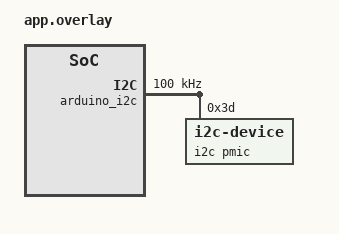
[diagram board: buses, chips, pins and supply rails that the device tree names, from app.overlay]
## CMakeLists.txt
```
# SPDX-License-Identifier: Apache-2.0

cmake_minimum_required(VERSION 3.20.0)
find_package(Zephyr REQUIRED HINTS $ENV{ZEPHYR_BASE})
project(nPZero_nRF52)

# NOTE: previously used add_subdirectory(nPZero_Driver/Src) with two bugs:
#   1) wrong case ("nPZero_Driver" vs actual folder "nPZero_driver")
#   2) nPZero_driver/Src has no CMakeLists.txt of its own (it is a plain vendor
#      driver submodule, not a Zephyr module), so add_subdirectory cannot work
#      here regardless of case. Sources are added directly instead.
target_sources(app PRIVATE
    src/main.c
    src/npz_temp_sensor.c
    src/npz_hal.c
    nPZero_driver/Src/npz.c
    nPZero_driver/Src/npz_device_control.c
    nPZero_driver/Src/npz_logs.c
)

target_include_directories(app PRIVATE nPZero_driver/Inc)
```

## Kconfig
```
menu "nPZero Driver nRF52"

config NP0_G0
    bool "Enable nPZG1"
	default y
    help
      This firmware enables mPZG1

endmenu

menu "Zephyr Kernel"
source "Kconfig.zephyr"
endmenu

module = APPLICATION_MODULE
module-str = Application module
source "subsys/logging/Kconfig.template.log_config"
```

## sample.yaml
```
sample:
  name: nPZero G1S nRF52 Power Management Integration
tests:
  sample.npzero.nrf52:
    platform_allow:
      - nrf52833dk/nrf52833
    tags: i2c
```

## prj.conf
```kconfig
CONFIG_SETTINGS=y
CONFIG_LOG=y
CONFIG_LOG_MODE_IMMEDIATE=y
CONFIG_LOG_DEFAULT_LEVEL=2
CONFIG_NP0_G0=y
CONFIG_MAIN_STACK_SIZE=8192

CONFIG_I2C=y
CONFIG_PM_DEVICE=y
CONFIG_PM_DEVICE_RUNTIME=y
```

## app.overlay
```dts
&arduino_i2c {
	compatible = "nordic,nrf-twim";
	status = "okay";
	clock-frequency = <I2C_BITRATE_STANDARD>;
	twis_device: npzero@3D {
		label = "i2c pmic";
		compatible = "i2c-device";
		status = "okay";
		reg = <0x3D>;
	};
};
```

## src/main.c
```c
#include "npz.h"
#include "npz_hal.h"
#include "npz_device_control.h"
#include <zephyr/kernel.h>
#include <stdio.h>

//[CFGSTRUCT_START]
npz_peripheral_config_s peripheral_3 = {
    .power_mode = POWER_MODE_PERIODIC,
    .communication_protocol = COM_SPI,
    .polling_mode = POLLING_MODE_PERIODIC_READ_COMPARE_THRESHOLD,
    .power_switch_mode = POWER_SWITCH_MODE_LOGIC_OUTPUT_HIGH,
    .interrupt_pin_mode = INTERRUPT_PIN_MODE_INPUT_ACTIVE_HIGH,
    .comparison_mode = COMPARISON_MODE_INSIDE_THRESHOLD,
    .sensor_data_type = DATA_TYPE_INT16,
    .multi_byte_transfer_enable = 0,
    .swap_registers = 0,
    .spi_cfg.bytes_from_sram_num = 2,
    .spi_cfg.bytes_from_sram = {0x20, 0x10},
    .spi_cfg.bytes_from_sram_read_num = 1,
    .spi_cfg.bytes_from_sram_read = {0xA8},
    .spi_cfg.mode = SPIMOD_SPI_MODE_0,
    .polling_period = 50,
    .pre_wait_time = PRE_WAIT_TIME_EXTEND_256,
    .post_wait_time = POST_WAIT_TIME_EXTEND_256,
    .time_to_wait = 10,
    .threshold_over = 1000,
    .threshold_under = 64536,
};

npz_peripheral_config_s peripheral_4 = {
    .communication_protocol = COM_I2C,
    .power_mode = POWER_MODE_PERIODIC,
    .polling_mode = POLLING_MODE_PERIODIC_READ_COMPARE_THRESHOLD,
    .power_switch_mode = POWER_SWITCH_MODE_LOGIC_OUTPUT_HIGH,
    .interrupt_pin_mode = INTERRUPT_PIN_MODE_INPUT_ACTIVE_HIGH,
    .comparison_mode = COMPARISON_MODE_INSIDE_THRESHOLD,
    .sensor_data_type  = DATA_TYPE_INT16,
    .multi_byte_transfer_enable  = MULTIBYTE_TRANSFER_ENABLE,
    .swap_registers = ENDIAN_BIG,
    .polling_period = 0x012C, // Wakeup peripheral every 30 seconds with 10Hz clock
    .i2c_cfg.sensor_address = 0x49,
    .i2c_cfg.command_num = 2,
    .i2c_cfg.bytes_from_sram = {0x01, 0x82, 0x02, 0xA0},
    .i2c_cfg.reg_address_value = 0x00,
    .i2c_cfg.wake_on_nak = ENABLED,
    .i2c_cfg.num_of_retries_on_nak = 3,
    .time_to_wait = 0x31, /* 0x31 (49 in decimal):
                           * When multiplied by 4096: 49 * 4096 = 200704  clock cycles * 2.5�s (1 / 400000),
                           * which equals 501.76ms at 400kHz.
                           * When multiplied by 256: 49 * 256 = 12544  clock cycles * 2.5�s (1 / 400000),
                           * which equals 31.36ms at 400kHz.
                           */
    .pre_wait_time = POST_WAIT_TIME_EXTEND_256,
    .post_wait_time = POST_WAIT_TIME_EXTEND_256,
    .threshold_over = 3200,
    .threshold_under = 1280,
};

npz_adc_config_channels_s npz_adc_internal_config = {
    .wakeup_enable = 0,
    .over_threshold = 0,
    .under_threshold = 0,
};

npz_adc_config_channels_s npz_adc_external_config = {
    .wakeup_enable = 0,
    .over_threshold = 0,
    .under_threshold = 0,
};

npz_device_config_s npz_configuration = {
    .host_power_mode = HOST_POWER_MODE_LOGIC_OUTPUT,
    .power_switch_normal_mode_per1 = 0,
    .power_switch_normal_mode_per2 = 0,
    .power_switch_normal_mode_per3 = 1,
    .power_switch_normal_mode_per4 = 1,
    .power_switch_gate_boost = 0,
    .system_clock_divider = SCLK_DIV_DISABLE,
    .system_clock_source = SYS_CLOCK_10HZ,
    .io_strength = IO_STR_NORMAL,
    .i2c_pull_mode = I2C_PULL_AUTO,
    .spi_auto = SPI_PINS_ALWAYS_ON,
    .xo_clock_out_sel = XO_CLK_OFF,
    .wake_up_per1 = 0,
    .wake_up_per2 = 0,
    .wake_up_per3 = 1,
    .wake_up_per4 = 1,
    .wake_up_any_or_all = WAKEUP_ANY,
    .global_timeout = 0x0BB8,
    .interrupt_pin_pull_up_pin1 = INT_PIN_PULL_HIGH,
    .interrupt_pin_pull_up_pin2 = INT_PIN_PULL_HIGH,
    .interrupt_pin_pull_up_pin3 = INT_PIN_PULL_HIGH,
    .interrupt_pin_pull_up_pin4 = INT_PIN_PULL_HIGH,
    .adc_ext_sampling_enable = 0,
    .adc_clock_sel = ADC_CLK_256,
    .adc_channels = {0, 0},
    .peripherals = {0, 0, &peripheral_3, &peripheral_4},
};
//[CFGSTRUCT_END]

static void read_peripheral_temp(int peripheral_value)
{
    // Calculate the temperature in degrees Celsius
    float temperature = peripheral_value * 0.0078125; //     // AS6212 temperature sensor resolution is 0.0078125°C.
    printk("Calculated temperature: %d.%03d °C\r\n", (int) temperature,
           (int) ((temperature - (int) temperature) * 1000));
}

static void npz_read_status_registers(npz_status_s *status)
{
    // Read the first status register
    if (npz_read_STA1(&status->status1) != OK)
    {
        return;
    }

    // Handle status1
    if (status->status1.reset_source == RESETSOURCE_NONE)
    {
        printk("Reset source is None\r\n");
    }
    else if (status->status1.reset_source == RESETSOURCE_PWR_RESET)
    {
        printk("Power-on reset triggered\r\n");
    }
    else if (status->status1.reset_source == RESETSOURCE_SOFT_RESET)
    {
        printk("Soft reset triggered (via I2C command)\r\n");
    }
    else if (status->status1.reset_source == RESETSOURCE_EXT_RESET)
    {
        printk("External reset triggered (via RST pin)\r\n");
    }

    if (status->status1.ext_adc_triggered == 1)
    {
        if (!npz_device_handle_adc_external())
        {
            return;
        }
    }

    if (status->status1.int_adc_triggered == 1)
    {
        if (!npz_device_handle_adc_internal())
        {
            return;
        }
    }

    if (status->status1.global_timeout_triggered == 1)
    {
        printk("Global Timeout triggered before any wake up source triggered\r\n");
    }

    // Read the second status register
    if (npz_read_STA2(&status->status2) != OK)
    {
        return;
    }

    // Handle status2
    // Arrays to map peripherals and switches
    npz_psw_e switches[4] = {PSW_LP1, PSW_LP2, PSW_LP3, PSW_LP4};
    uint8_t triggered[4] = {status->status2.per1_triggered, status->status2.per2_triggered,
                            status->status2.per3_triggered, status->status2.per4_triggered};
    uint8_t timeouts[4] = {status->status2.per1_global_timeout, status->status2.per2_global_timeout,
                           status->status2.per3_global_timeout, status->status2.per4_global_timeout};

    // Iterate over each peripheral to check for triggers and timeouts
    for (int i = 0; i < 4; i++)
    {
        if (triggered[i]) // Check if peripheral is triggered
        {
            int peripheral_value = 0;

            npz_device_read_peripheral_value(switches[i], i,
                                             &peripheral_value); // Read the peripheral value based on the switch

            if (npz_configuration.peripherals[i]->communication_protocol == COM_I2C &&
                (npz_configuration.peripherals[i]->polling_mode == POLLING_MODE_PERIODIC_READ_COMPARE_THRESHOLD ||
                 npz_configuration.peripherals[i]->polling_mode ==
                     POLLING_MODE_PERIODIC_WAIT_INTERRUPT_COMPARE_THRESHOLD))
            {
                read_peripheral_temp(peripheral_value);
            }
        }

        if (timeouts[i]) // Check if global timeout is triggered for this peripheral
        {
            printk("Peripheral %d global timeout was triggered\r\n", i + 1); // Log the timeout event
        }
    }
}

int main(void)
{
    // Print welcome message
    printk("nPZero Host is active.........\r\n");

    // Initialize the nPZG1S
    npz_init();
  
    // Read the status registers of the nP0 device after every reset
    npz_status_s npz_status = {0};
    npz_read_status_registers(&npz_status);

    // Send the configuration to the device
    npz_device_configure(&npz_configuration);

    // Add a delay at the start of main, to give the user time to flash the MCU before it enters sleep
    // This delay should be removed in production code  
    k_msleep(1000);

    // At the end of your operations, put the device into idle mode
    // (renamed from npz_device_go_to_sleep(), which is not declared in npz_device_control.h)
    npz_device_go_to_idle();
}
```

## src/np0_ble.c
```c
/**
 * @file np0_ble.c
 * @brief Bluetooth Low Energy (BLE) handling for NP0 device.
 *
 * This file contains the implementation of BLE functions for initializing,
 * updating, and advertising temperature data.
 */
/*****************************************************************************
 * Includes
 *****************************************************************************/

#include "np0_ble.h"
#include <stddef.h>
#include <zephyr/bluetooth/bluetooth.h>
#include <zephyr/bluetooth/hci.h>
#include <zephyr/sys/util.h>
#include <zephyr/types.h>

/*****************************************************************************
 * Defines
 *****************************************************************************/

#define DEVICE_NAME CONFIG_BT_DEVICE_NAME
#define DEVICE_NAME_LEN (sizeof(DEVICE_NAME) - 1)
#define ADV_MIN_5000_MS 8000
#define ADV_MAX_5200_MS 8320
#define BLE_ADV_NCONN_NSCAN BT_LE_ADV_PARAM(0, ADV_MIN_5000_MS, ADV_MAX_5200_MS, NULL)

/*****************************************************************************
 * Data
 *****************************************************************************/

// Advertisement data array
static uint8_t m_eddystone_data[] = {
    0xaa, // Eddystone UUID (LSB)
    0xfe, // Eddystone UUID (MSB)
    0x20, // Eddystone-TLM frame type
    0x00, // TLM Version
    0x00, // adc_core (LSB)
    0x00, // adc_ext  (MSB)
    0x00, // VALP_L (LSB) of the read value from the peripheral
    0x80  // VALP_H (MSB) of the read value from the peripheral
};

/*
 * Set Advertisement data. Based on the Eddystone specification:
 * https://github.com/google/eddystone/blob/master/protocol-specification.md
 * https://github.com/google/eddystone/tree/master/eddystone-url
 */
static struct bt_data m_ad[] = {
    BT_DATA_BYTES(BT_DATA_FLAGS, BT_LE_AD_NO_BREDR),
    BT_DATA_BYTES(BT_DATA_UUID16_ALL, 0xaa, 0xfe),
    BT_DATA(BT_DATA_SVC_DATA16, m_eddystone_data, sizeof(m_eddystone_data)),
    BT_DATA(BT_DATA_NAME_COMPLETE, DEVICE_NAME, DEVICE_NAME_LEN),
};

/*****************************************************************************
 * Private Methods
 *****************************************************************************/

static int start_advertising(void)
{
    int err = bt_le_adv_start(BLE_ADV_NCONN_NSCAN, m_ad, ARRAY_SIZE(m_ad), NULL, 0);
    if (err < 0)
    {
        printk("Advertising failed to start (err %d)\r\n", err);
    }

    return err;
}

/**
 * @brief This function is called when the Bluetooth subsystem is initialized.
 * It starts advertising and logs the beacon's status.
 *
 * @param err Error code from Bluetooth initialization
 */
static void bt_ready(int err)
{
    char addr_s[BT_ADDR_LE_STR_LEN];
    bt_addr_le_t addr = {0};
    size_t count = 1;

    if (err)
    {
        printk("Bluetooth init failed (err %d)\r\n", err);
        return;
    }

    printk("Bluetooth initialized\r\n");

    /* Start advertising */
    err = start_advertising();
    if (err)
    {
        return;
    }

    printk("Advertising successfully started\r\n");

    /* For connectable advertising you would use
     * bt_le_oob_get_local().  For non-connectable non-identity
     * advertising an non-resolvable private address is used;
     * there is no API to retrieve that.
     */
    bt_id_get(&addr, &count);
    bt_addr_le_to_str(&addr, addr_s, sizeof(addr_s));

    printk("Beacon started, advertising as %s\r\n", addr_s);
}

/*****************************************************************************
 * Public Methods
 *****************************************************************************/

int np0_ble_init(void)
{
    //  Initialize the Bluetooth Subsystem
    int err = bt_enable(bt_ready);
    if (err < 0)
    {
        printk("Bluetooth enable failed (err %d)\r\n", err);
    }

    return err;
}

int np0_ble_update_valp_advertisement_data(int peripheral_value)
{
    uint8_t valp_low = peripheral_value & 0xFF;         // Lower byte
    uint8_t valp_high = (peripheral_value >> 8) & 0xFF; // Upper byte

    // Update the valp bytes in the modifiable advertisement data array
    m_eddystone_data[6] = valp_low;
    m_eddystone_data[7] = valp_high;

    // Restart advertising with updated data
    bt_le_adv_stop();
    int err = start_advertising();
    if (err < 0)
    {
        printk("Failed to update VALP advertisement data (err %d)\r\n", err);
    }

    return err;
}

int np0_ble_update_adc_int_advertisement_data(uint8_t int_adc_value)
{
    // Update the adc_core bytes in the modifiable advertisement data array
    m_eddystone_data[4] = int_adc_value;

    // Restart advertising with updated data
    bt_le_adv_stop();
    int err = start_advertising();
    if (err < 0)
    {
        printk("Failed to update ADC core advertisement data (err %d)\r\n", err);
    }

    return err;
}

int np0_ble_update_adc_ext_advertisement_data(uint8_t ext_adc_value)
{
    // Update the adc_ext bytes in the modifiable advertisement data array
    m_eddystone_data[5] = ext_adc_value;

    // Restart advertising with updated data
    bt_le_adv_stop();
    int err = start_advertising();
    if (err < 0)
    {
        printk("Failed to update ADC ext advertisement data (err %d)\r\n", err);
    }

    return err;
}
```

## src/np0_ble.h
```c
/**
 * @file np0_ble.h
 * @brief Bluetooth Low Energy (BLE) handling for NP0 device.
 *
 * This header file contains functions for initializing BLE,
 * updating, and advertising temperature data.
 */

#ifndef NP0_BLE_H_
#define NP0_BLE_H_

/** @cond */
#include <stdbool.h>
#include <stdint.h>
/** @endcond */

/**
 * @brief Initialize the Bluetooth subsystem.
 *
 * This function initializes the Bluetooth subsystem and registers a callback
 * for when the Bluetooth stack is ready.
 *
 * @return 0 on success, a negative error code on failure.
 */
int np0_ble_init(void);

/**
 * @brief Update the BLE advertisement data with the latest read values from the peripheral.
 *
 * This function updates the valp data in the advertisement packet
 * and restarts the BLE advertising to broadcast the new data.
 *
 * @param [in] peripheral_value  The last read value from the peripheral.
 * @return 0 on success, a negative error code on failure.
 */
int np0_ble_update_valp_advertisement_data(int peripheral_value);

/**
 * @brief Update the BLE advertisement data with the latest adc internal values.
 *
 * This function updates the internal adc data in the advertisement packet
 * and restarts the BLE advertising to broadcast the new data.
 *
 * @param [in] int_adc_value  The internal value of the adc.
 * @return 0 on success, a negative error code on failure.
 */
int np0_ble_update_adc_int_advertisement_data(uint8_t int_adc_value);

/**
 * @brief Update the BLE advertisement data with the latest adc external values.
 *
 * This function updates the external adc data in the advertisement packet
 * and restarts the BLE advertising to broadcast the new data.
 *
 * @param [in] ext_adc_value  The external value of the adc.
 * @return 0 on success, a negative error code on failure.
 */
int np0_ble_update_adc_ext_advertisement_data(uint8_t ext_adc_value);
#endif /* NP0_BLE_H_ */
```

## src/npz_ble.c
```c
/**
 * @file np0_ble.c
 * @brief Bluetooth Low Energy (BLE) handling for NP0 device.
 *
 * This file contains the implementation of BLE functions for initializing,
 * updating, and advertising temperature data.
 */
/*****************************************************************************
 * Includes
 *****************************************************************************/

#include "npz_ble.h"
#include <stddef.h>
#include <zephyr/bluetooth/bluetooth.h>
#include <zephyr/bluetooth/hci.h>
#include <zephyr/sys/util.h>
#include <zephyr/types.h>

/*****************************************************************************
 * Defines
 *****************************************************************************/

#define DEVICE_NAME CONFIG_BT_DEVICE_NAME
#define DEVICE_NAME_LEN (sizeof(DEVICE_NAME) - 1)
#define ADV_MIN_5000_MS 8000
#define ADV_MAX_5200_MS 8320
#define BLE_ADV_NCONN_NSCAN BT_LE_ADV_PARAM(0, ADV_MIN_5000_MS, ADV_MAX_5200_MS, NULL)

/*****************************************************************************
 * Data
 *****************************************************************************/

// Advertisement data array
static uint8_t m_eddystone_data[] = {
    0xaa, // Eddystone UUID (LSB)
    0xfe, // Eddystone UUID (MSB)
    0x20, // Eddystone-TLM frame type
    0x00, // TLM Version
    0x00, // adc_core (LSB)
    0x00, // adc_ext  (MSB)
    0x00, // VALP_L (LSB) of the read value from the peripheral
    0x80  // VALP_H (MSB) of the read value from the peripheral
};

/*
 * Set Advertisement data. Based on the Eddystone specification:
 * https://github.com/google/eddystone/blob/master/protocol-specification.md
 * https://github.com/google/eddystone/tree/master/eddystone-url
 */
static struct bt_data m_ad[] = {
    BT_DATA_BYTES(BT_DATA_FLAGS, BT_LE_AD_NO_BREDR),
    BT_DATA_BYTES(BT_DATA_UUID16_ALL, 0xaa, 0xfe),
    BT_DATA(BT_DATA_SVC_DATA16, m_eddystone_data, sizeof(m_eddystone_data)),
    BT_DATA(BT_DATA_NAME_COMPLETE, DEVICE_NAME, DEVICE_NAME_LEN),
};

/*****************************************************************************
 * Private Methods
 *****************************************************************************/

static int start_advertising(void)
{
    int err = bt_le_adv_start(BLE_ADV_NCONN_NSCAN, m_ad, ARRAY_SIZE(m_ad), NULL, 0);
    if (err < 0)
    {
        printk("Advertising failed to start (err %d)\r\n", err);
    }

    return err;
}

/**
 * @brief This function is called when the Bluetooth subsystem is initialized.
 * It starts advertising and logs the beacon's status.
 *
 * @param err Error code from Bluetooth initialization
 */
static void bt_ready(int err)
{
    char addr_s[BT_ADDR_LE_STR_LEN];
    bt_addr_le_t addr = {0};
    size_t count = 1;

    if (err)
    {
        printk("Bluetooth init failed (err %d)\r\n", err);
        return;
    }

    printk("Bluetooth initialized\r\n");

    /* Start advertising */
    err = start_advertising();
    if (err)
    {
        return;
    }

    printk("Advertising successfully started\r\n");

    /* For connectable advertising you would use
     * bt_le_oob_get_local().  For non-connectable non-identity
     * advertising an non-resolvable private address is used;
     * there is no API to retrieve that.
     */
    bt_id_get(&addr, &count);
    bt_addr_le_to_str(&addr, addr_s, sizeof(addr_s));

    printk("Beacon started, advertising as %s\r\n", addr_s);
}

/*****************************************************************************
 * Public Methods
 *****************************************************************************/

int npz_ble_init(void)
{
    //  Initialize the Bluetooth Subsystem
    int err = bt_enable(bt_ready);
    if (err < 0)
    {
        printk("Bluetooth enable failed (err %d)\r\n", err);
    }

    return err;
}

int npz_ble_update_valp_advertisement_data(int peripheral_value)
{
    uint8_t valp_low = peripheral_value & 0xFF;         // Lower byte
    uint8_t valp_high = (peripheral_value >> 8) & 0xFF; // Upper byte

    // Update the valp bytes in the modifiable advertisement data array
    m_eddystone_data[6] = valp_low;
    m_eddystone_data[7] = valp_high;

    // Restart advertising with updated data
    bt_le_adv_stop();
    int err = start_advertising();
    if (err < 0)
    {
        printk("Failed to update VALP advertisement data (err %d)\r\n", err);
    }

    return err;
}

int npz_ble_update_adc_int_advertisement_data(uint8_t int_adc_value)
{
    // Update the adc_core bytes in the modifiable advertisement data array
    m_eddystone_data[4] = int_adc_value;

    // Restart advertising with updated data
    bt_le_adv_stop();
    int err = start_advertising();
    if (err < 0)
    {
        printk("Failed to update ADC core advertisement data (err %d)\r\n", err);
    }

    return err;
}

int npz_ble_update_adc_ext_advertisement_data(uint8_t ext_adc_value)
{
    // Update the adc_ext bytes in the modifiable advertisement data array
    m_eddystone_data[5] = ext_adc_value;

    // Restart advertising with updated data
    bt_le_adv_stop();
    int err = start_advertising();
    if (err < 0)
    {
        printk("Failed to update ADC ext advertisement data (err %d)\r\n", err);
    }

    return err;
}
```

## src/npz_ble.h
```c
/**
 * @file np0_ble.h
 * @brief Bluetooth Low Energy (BLE) handling for NP0 device.
 *
 * This header file contains functions for initializing BLE,
 * updating, and advertising temperature data.
 */

#ifndef __NPZ_BLE_H
#define __NPZ_BLE_H

/** @cond */
#include <stdbool.h>
#include <stdint.h>
/** @endcond */

/**
 * @brief Initialize the Bluetooth subsystem.
 *
 * This function initializes the Bluetooth subsystem and registers a callback
 * for when the Bluetooth stack is ready.
 *
 * @return 0 on success, a negative error code on failure.
 */
int npz_ble_init(void);

/**
 * @brief Update the BLE advertisement data with the latest read values from the peripheral.
 *
 * This function updates the valp data in the advertisement packet
 * and restarts the BLE advertising to broadcast the new data.
 *
 * @param [in] peripheral_value  The last read value from the peripheral.
 * @return 0 on success, a negative error code on failure.
 */
int npz_ble_update_valp_advertisement_data(int peripheral_value);

/**
 * @brief Update the BLE advertisement data with the latest adc internal values.
 *
 * This function updates the internal adc data in the advertisement packet
 * and restarts the BLE advertising to broadcast the new data.
 *
 * @param [in] int_adc_value  The internal value of the adc.
 * @return 0 on success, a negative error code on failure.
 */
int npz_ble_update_adc_int_advertisement_data(uint8_t int_adc_value);

/**
 * @brief Update the BLE advertisement data with the latest adc external values.
 *
 * This function updates the external adc data in the advertisement packet
 * and restarts the BLE advertising to broadcast the new data.
 *
 * @param [in] ext_adc_value  The external value of the adc.
 * @return 0 on success, a negative error code on failure.
 */
int npz_ble_update_adc_ext_advertisement_data(uint8_t ext_adc_value);
#endif /* __NPZ_BLE_H */
```

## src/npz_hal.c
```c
/**
 * @file np0_hal.c
 *
 * @brief Source file for nPZero Hardware Abstraction Layer (HAL)
 *
 * This file contains the hardware-specific functions and configurations for
 * the I2C communication interface. Users are required to customize these
 * functions according to their target hardware and MCU setup.
 *
 * The functions in this file serve as an abstraction layer between the nPZero
 * driver and the hardware-specific I2C implementation on the target system.
 * Users should modify these functions to match the I2C peripheral and
 * communication protocol used in their system.
 *
 * @note This file provides placeholder functions and configurations that need
 * to be adapted to the specific hardware and MCU setup. Users must replace
 * these placeholders with the actual implementations relevant to their system.
 *
 * @warning Incorrect configuration or improper implementation of these functions
 * may result in I2C communication failures or unexpected behavior.
 */

/*****************************************************************************
 * Includes
 *****************************************************************************/

#include "../nPZero_driver/Inc/npz_hal.h"
#include <zephyr/kernel.h>
#include <zephyr/device.h>
#include <zephyr/devicetree.h>
#include <zephyr/drivers/gpio.h>
#include <zephyr/drivers/i2c.h>
#include <zephyr/pm/device.h>
#include <zephyr/pm/pm.h>

/*****************************************************************************
 * Defines
 *****************************************************************************/

#define I2C_DELAY_MS 5
#define MY_TWIM DT_NODELABEL(arduino_i2c)

/* NPZ_I2C_ADDRESS (npz_hal.h) is documented as pre-shifted left by 1 bit
 * (8-bit-style addressing, e.g. as expected by ST HAL-style drivers).
 * Zephyr's i2c_write()/i2c_write_read() expect the UNSHIFTED 7-bit address
 * and perform their own internal shift, so the incoming slave_address must
 * be shifted back down by 1 bit before being handed to the Zephyr I2C API. */
#define NPZ_TO_ZEPHYR_7BIT_ADDR(addr) ((addr) >> 1)

/*****************************************************************************
 * Data
 *****************************************************************************/

static const struct device *m_nrfx_twis_dev;

/*****************************************************************************
 * Private Methods
 *****************************************************************************/

/*****************************************************************************
 * Public Methods
 *****************************************************************************/

/**
 * @brief Function to read registers over I2C.
 */
npz_status_e npz_hal_read(uint8_t slave_address, uint8_t slave_register, uint8_t *pData, uint16_t size,
                          uint32_t timeout)
{
    uint8_t transmitData[] = {slave_register};
    if (i2c_write_read(m_nrfx_twis_dev, NPZ_TO_ZEPHYR_7BIT_ADDR(slave_address), transmitData, sizeof(transmitData), pData, size) != 0)
    {
        return ERR;
    }

    return OK;
}

/**
 * @brief Function to write to registers over I2C.
 */
npz_status_e npz_hal_write(uint8_t slave_address, uint8_t *pData, uint16_t size, uint32_t timeout)
{
    if (i2c_write(m_nrfx_twis_dev, pData, size, NPZ_TO_ZEPHYR_7BIT_ADDR(slave_address)) != 0)
    {
        return ERR;
    }

    return OK;
}

/**
 * @brief Function to initialize I2C instance that will communicate with nPZero.
 */
npz_status_e npz_hal_init()
{
    int error_code = 0;
    m_nrfx_twis_dev = DEVICE_DT_GET(MY_TWIM);

    /* DEVICE_DT_GET always returns a valid, non-NULL pointer at compile time,
     * so a NULL check here never actually catches an init failure.
     * device_is_ready() is the correct runtime check. */
    if (!device_is_ready(m_nrfx_twis_dev))
    {
        return ERR;
    }

    printk("I2C device: %s\r\n", DT_PROP(DT_NODELABEL(twis_device), label));

    error_code = i2c_configure(m_nrfx_twis_dev, I2C_SPEED_SET(I2C_SPEED_STANDARD));
    if (error_code != 0)
    {
        return ERR;
    }

    pm_device_action_run(m_nrfx_twis_dev, PM_DEVICE_ACTION_SUSPEND);

    return OK;
}
```

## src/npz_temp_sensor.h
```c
/**
 * @file np0_temp_sensor.h
 * @brief Temperature sensor management for the AS6212 sensor
 *
 * This header file contains functions to configure and manage the AS6212 temperature sensor.
 * It includes functions for handling temperature interrupts.
 *
 */

#ifndef __NPZ_TEMP_SENSOR_H
#define __NPZ_TEMP_SENSOR_H

/** @cond */
#include <stdbool.h>
#include <stdint.h>
/** @endcond */

/**
 * @brief Initialize I2c temp sensor for mode2.
 *
 * This function reads the current temperature from the sensor, converts it to Celsius,
 * and checks if it is within the predefined temperature limits. If the temperature is
 * within the range, it sets the appropriate configures for the sensor.
 * Otherwise, it sets the sensor to sleep mode and reconfigures it.
 */
void npz_temp_sensor_manage_mode2(void);

#endif /* __NPZ_TEMP_SENSOR_H */
```
